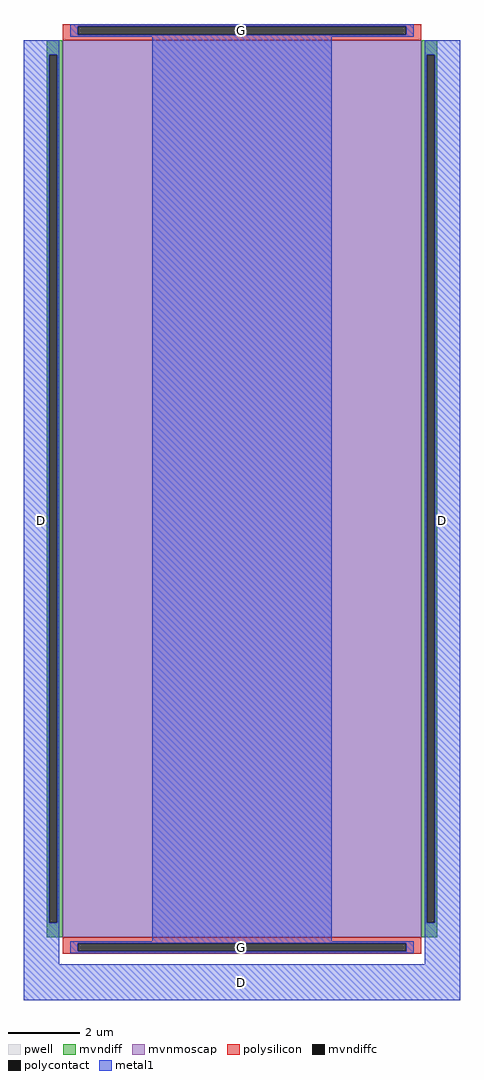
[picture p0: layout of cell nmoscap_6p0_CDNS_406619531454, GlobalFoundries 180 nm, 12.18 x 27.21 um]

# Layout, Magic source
magic
tech gf180mcuD
magscale 1 10
<< pwell >>
rect -88 0 2088 5000
<< mvndiff >>
rect -88 4920 0 5000
rect -88 80 -75 4920
rect -29 80 0 4920
rect -88 0 0 80
rect 2000 4920 2088 5000
rect 2000 80 2029 4920
rect 2075 80 2088 4920
rect 2000 0 2088 80
<< mvndiffc >>
rect -75 80 -29 4920
rect 2029 80 2075 4920
<< mvnmoscap >>
rect 0 0 2000 5000
<< polysilicon >>
rect 0 5079 2000 5092
rect 0 5033 84 5079
rect 1916 5033 2000 5079
rect 0 5000 2000 5033
rect 0 -33 2000 0
rect 0 -79 84 -33
rect 1916 -79 2000 -33
rect 0 -92 2000 -79
<< polycontact >>
rect 84 5033 1916 5079
rect 84 -79 1916 -33
<< metal1 >>
rect 42 5079 1958 5090
rect 42 5033 84 5079
rect 1916 5033 1958 5079
rect 42 5022 1958 5033
rect -218 4920 -18 5000
rect -218 80 -75 4920
rect -29 80 -18 4920
rect -218 -150 -18 80
rect 500 -22 1500 5022
rect 2018 4920 2218 5000
rect 2018 80 2029 4920
rect 2075 80 2218 4920
rect 42 -33 1958 -22
rect 42 -79 84 -33
rect 1916 -79 1958 -33
rect 42 -90 1958 -79
rect 2018 -150 2218 80
rect -218 -350 2218 -150
<< labels >>
rlabel metal1 1000 -250 1000 -250 4 D
rlabel metal1 2118 2325 2118 2325 4 D
rlabel metal1 -118 2325 -118 2325 4 D
rlabel polycontact 1000 5056 1000 5056 4 G
rlabel polycontact 1000 -56 1000 -56 4 G
<< end >>
